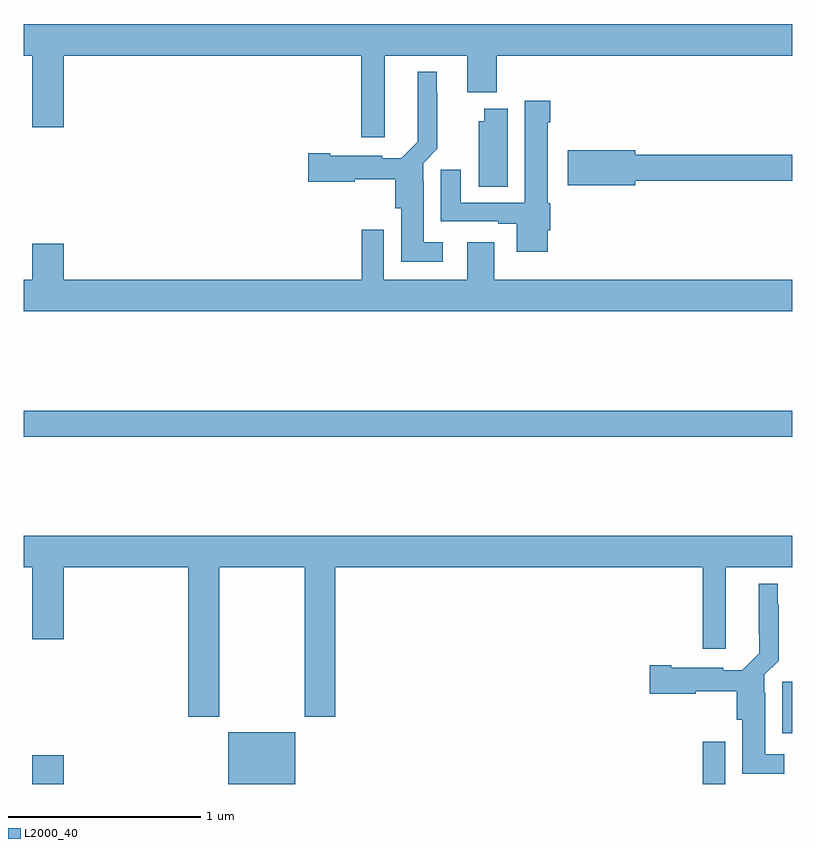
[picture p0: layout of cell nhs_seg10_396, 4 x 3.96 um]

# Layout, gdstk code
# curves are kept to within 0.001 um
import gdstk
lib = gdstk.Library(unit=1e-6, precision=1e-09)
def R(c, l, rs):  # rectangles x0, y0, x1, y1
    for r in rs: c.add(gdstk.rectangle(r[:2], r[2:], *l))
def P(c, l, *ps):  # polygons
    for p in ps: c.add(gdstk.Polygon(p, *l))
L2000_40 = (2000, 40)

nhs_seg10_396 = lib.new_cell('nhs_seg10_396')
R(nhs_seg10_396, L2000_40, [(129.044,1320.5,129.208,1320.649), (130.064,1320.5,130.414,1320.769), (132.535,1320.5,132.651,1320.721), (132.947,1320.765,133,1321.033), (129,1322.308,133,1322.444)])
P(nhs_seg10_396, L2000_40, [(130.879,1324.292),(131.309,1324.292),(131.309,1324.1),(131.462,1324.1),(131.462,1324.292),(133,1324.292),(133,1324.456),(129,1324.456),(129,1324.292),(129.044,1324.292),(129.044,1323.918),(129.208,1323.918),(129.208,1324.292),(130.757,1324.292),(130.757,1323.867),(130.879,1323.867)],
  [(131.182,1323.319),(131.083,1323.319),(131.083,1323.638),(131.079,1323.638),(131.079,1323.732),(131.153,1323.806),(131.153,1324.097),(131.149,1324.097),(131.149,1324.207),(131.051,1324.207),(131.052,1323.844),(130.965,1323.757),(130.866,1323.757),(130.866,1323.769),(130.594,1323.769),(130.594,1323.782),(130.482,1323.782),(130.482,1323.635),(130.722,1323.635),(130.722,1323.647),(130.934,1323.647),(130.934,1323.498),(130.964,1323.498),(130.964,1323.218),(131.182,1323.218)],
  [(131.728,1323.382),(131.741,1323.382),(131.741,1323.522),(131.728,1323.522),(131.728,1323.944),(131.741,1323.944),(131.741,1324.057),(131.609,1324.057),(131.609,1323.525),(131.275,1323.525),(131.275,1323.697),(131.171,1323.697),(131.171,1323.429),(131.471,1323.429),(131.471,1323.417),(131.567,1323.417),(131.567,1323.27),(131.728,1323.27)],
  [(131.518,1324.015),(131.396,1324.015),(131.396,1323.951),(131.369,1323.951),(131.369,1323.61),(131.518,1323.61)],
  [(132.184,1323.64),(133,1323.64),(133,1323.776),(132.184,1323.776),(132.184,1323.8),(131.832,1323.8),(131.832,1323.617),(132.184,1323.617)],
  [(133,1323.124),(131.449,1323.124),(131.449,1323.319),(131.309,1323.319),(131.309,1323.124),(130.875,1323.124),(130.875,1323.385),(130.759,1323.385),(130.759,1323.124),(129.208,1323.124),(129.208,1323.313),(129.044,1323.313),(129.044,1323.124),(129,1323.124),(129,1322.96),(133,1322.96)],
  [(130.017,1321.628),(130.462,1321.628),(130.462,1320.849),(130.622,1320.849),(130.622,1321.628),(132.533,1321.628),(132.533,1321.203),(132.655,1321.203),(132.655,1321.628),(133,1321.628),(133,1321.792),(129,1321.792),(129,1321.628),(129.044,1321.628),(129.044,1321.254),(129.208,1321.254),(129.208,1321.628),(129.857,1321.628),(129.857,1320.849),(130.017,1320.849)],
  [(132.958,1320.655),(132.859,1320.655),(132.859,1320.974),(132.855,1320.974),(132.855,1321.068),(132.929,1321.142),(132.929,1321.433),(132.925,1321.433),(132.925,1321.543),(132.827,1321.543),(132.828,1321.18),(132.741,1321.093),(132.642,1321.093),(132.642,1321.105),(132.37,1321.105),(132.37,1321.118),(132.258,1321.118),(132.258,1320.971),(132.498,1320.971),(132.498,1320.983),(132.71,1320.983),(132.71,1320.834),(132.74,1320.834),(132.74,1320.554),(132.958,1320.554)])

lib.write_gds('nhs_seg10_396.gds')
